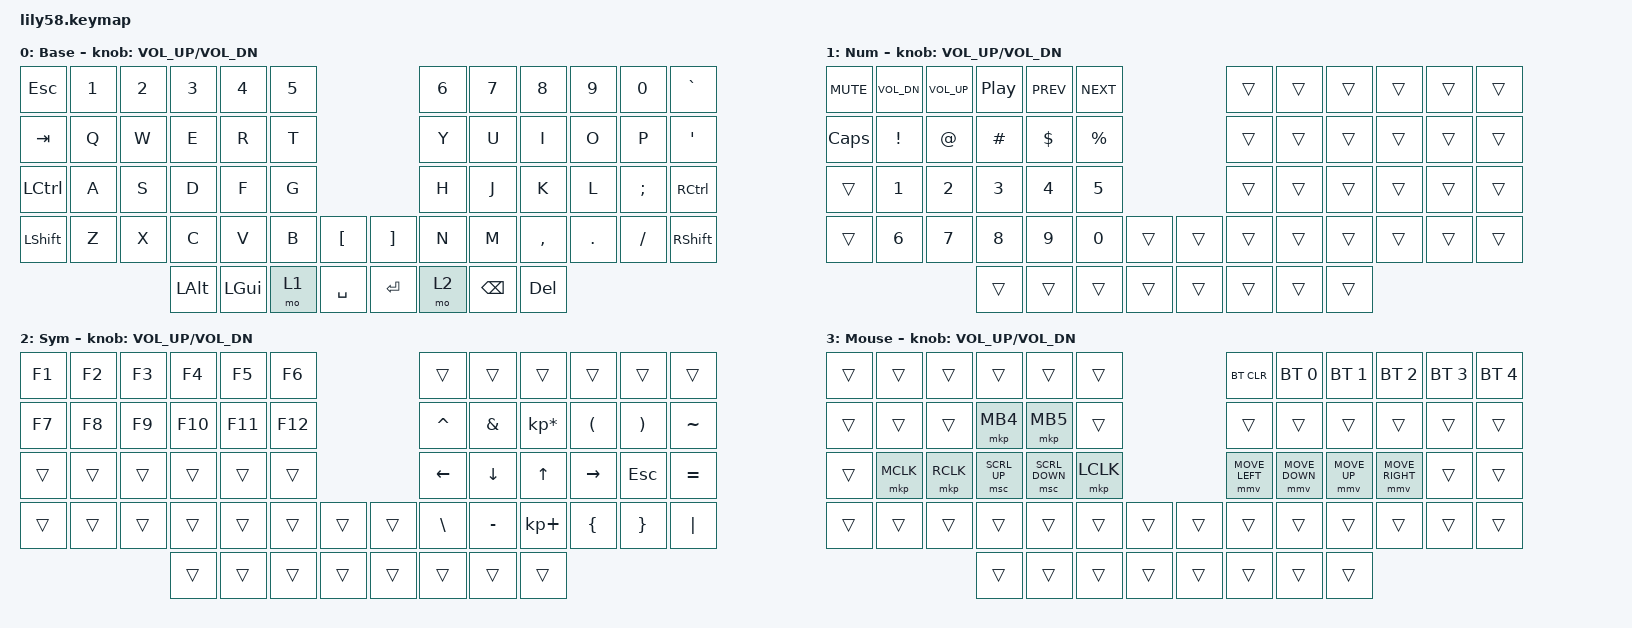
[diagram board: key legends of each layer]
/*
 * Copyright (c) 2020 The ZMK Contributors
 *
 * SPDX-License-Identifier: MIT
 */

#include <behaviors.dtsi>
#include <dt-bindings/zmk/keys.h>
#include <dt-bindings/zmk/bt.h>
#include <dt-bindings/zmk/ext_power.h>

#define ZMK_POINTING_DEFAULT_MOVE_VAL 2100 // default: 600
#define ZMK_POINTING_DEFAULT_SCRL_VAL 80   // default: 10

#include <dt-bindings/zmk/pointing.h>

&mmv {
    time-to-max-speed-ms = <1250>;
    acceleration-exponent = <1>;
};

&msc {
    time-to-max-speed-ms = <160>;
    acceleration-exponent = <1>;
};

/ {
    behaviors {
    };

    conditional_layers {
        compatible = "zmk,conditional-layers";
        tri_layer {
            if-layers = <1 2>;
            then-layer = <3>;
        };
    };

    keymap {
        compatible = "zmk,keymap";

        default_layer {
            display-name = "Base";
// ------------------------------------------------------------------------------------------------------------
// |  ESC  |  1  |  2  |  3   |  4   |  5   |                   |  6   |  7    |  8    |  9   |   0   |   `   |
// |  TAB  |  Q  |  W  |  E   |  R   |  T   |                   |  Y   |  U    |  I    |  O   |   P   |   '   |
// | CTRL  |  A  |  S  |  D   |  F   |  G   |                   |  H   |  J    |  K    |  L   |   ;   | CTRL  |
// | SHIFT |  Z  |  X  |  C   |  V   |  B   |   "["  |  |  "]"  |  N   |  M    |  ,    |  .   |   /   | SHIFT |
//                     | ALT  | GUI  | LOWER|  SPACE |  | ENTER | RAISE| BSPC  | DEL   |
            bindings = <
&kp ESC   &kp N1 &kp N2 &kp N3   &kp N4   &kp N5                     &kp N6 &kp N7   &kp N8    &kp N9  &kp N0   &kp GRAV
&kp TAB   &kp Q  &kp W  &kp E    &kp R    &kp T                      &kp Y  &kp U    &kp I     &kp O   &kp P    &kp SQT
&kp LCTRL &kp A  &kp S  &kp D    &kp F    &kp G                      &kp H  &kp J    &kp K     &kp L   &kp SEMI &kp RCTRL
&kp LSHFT &kp Z  &kp X  &kp C    &kp V    &kp B  &kp LBKT   &kp RBKT &kp N  &kp M    &kp COMMA &kp DOT &kp FSLH &kp RSHFT
                        &kp LALT &kp LGUI &mo 1  &kp SPACE  &kp RET  &mo 2  &kp BSPC &kp DEL
            >;

            sensor-bindings = <&inc_dec_kp C_VOL_UP C_VOL_DN>;
        };

        lower_layer {
            display-name = "Num";
// --------------------------------------------------------------------------------------------------------------
// |  MUT  |  Vo- |  Vo+ | PLAY | PREV | NEXT |                   |      |       |       |      |       |       |
// |  CAPS |  !   |  @   |  #   |  $   |  %   |                   |      |       |       |      |       |       |
// |       |  1   |  2   |  3   |  4   |  5   |                   |      |       |       |      |       |       |
// |       |  6   |  7   |  8   |  9   |  0   |        |  |       |      |       |       |      |       |       |
//                       |      |      |      |        |  |       |      |       |       |
            bindings = <
&kp C_MUTE &kp C_VOL_DN     &kp C_VOL_UP      &kp C_PLAY_PAUSE  &kp C_PREV   &kp C_NEXT                     &trans    &trans    &trans  &trans    &trans    &trans
&kp CAPS   &kp EXCL         &kp AT            &kp HASH          &kp DOLLAR   &kp PRCNT                      &trans    &trans    &trans  &trans    &trans    &trans
&trans     &kp N1           &kp N2            &kp N3            &kp N4       &kp N5                         &trans    &trans    &trans  &trans    &trans    &trans
&trans     &kp N6           &kp N7            &kp N8            &kp N9       &kp N0      &trans   &trans    &trans    &trans    &trans  &trans    &trans    &trans
                                              &trans            &trans       &trans      &trans   &trans    &trans    &trans    &trans
            >;

            sensor-bindings = <&inc_dec_kp C_VOL_UP C_VOL_DN>;
        };

        raise_layer {
            display-name = "Sym";
// ------------------------------------------------------------------------------------------------------------
// |   F1  |  F2 |  F3 |  F4  |  F5  |  F6  |                   |      |       |       |      |       |       |
// |   F7  |  F8 |  F9 |  F10 |  F11 |  F12 |                   |  ^   |  &    |  *    |  (   |   )   |   ~   |
// |       |     |     |      |      |      |                   |  <-  |   v   |   ^   |  ->  |  ESC  |   =   |
// |       |     |     |      |      |      |        |  |       |  \   |  -    |  +    |  {   |   }   |  "|"  |
//                     |      |      |      |        |  |       |      |       |       |
            bindings = <
&kp F1 &kp F2    &kp F3    &kp F4       &kp F5         &kp F6                       &trans         &trans       &trans          &trans          &trans       &trans
&kp F7 &kp F8    &kp F9    &kp F10      &kp F11        &kp F12                      &kp CARET      &kp AMPS     &kp KP_MULTIPLY &kp LPAR        &kp RPAR     &kp TILDE
&trans &trans    &trans    &trans       &trans         &trans                       &kp LEFT       &kp DOWN     &kp UP          &kp RIGHT       &kp ESC      &kp EQUAL
&trans &trans    &trans    &trans       &trans         &trans   &trans    &trans    &kp BSLH       &kp MINUS    &kp KP_PLUS     &kp LBRC        &kp RBRC     &kp PIPE
                           &trans       &trans         &trans   &trans    &trans    &trans         &trans       &trans
            >;

            sensor-bindings = <&inc_dec_kp C_VOL_UP C_VOL_DN>;
        };

        adjust_layer {
            display-name = "Mouse";
// ------------------------------------------------------------------------------------------------------------
// |       |     |     |      |      |      |                   | Clr  |  B0   |  B1   |  B2  |  B3   |  B4   |
// |       |     |     |  MB4 |  MB5 |      |                   |      |       |       |      |       |       |
// |       |MCLC |RCLC | SC_U | SC_D | LCLK |                   |  <-  |   v   |   ^   |  ->  |       |       |
// |       |     |     |      |      |      |        |  |       |      |       |       |      |       |       |
//                     |      |      |      |        |  |       |      |       |       |
            bindings = <
&trans &trans    &trans    &trans       &trans         &trans                        &bt BT_CLR     &bt BT_SEL 0   &bt BT_SEL 1    &bt BT_SEL 2    &bt BT_SEL 3 &bt BT_SEL 4
&trans &trans    &trans    &mkp MB4     &mkp MB5       &trans                        &trans         &trans         &trans          &trans          &trans       &trans
&trans &mkp MCLK &mkp RCLK &msc SCRL_UP &msc SCRL_DOWN &mkp LCLK                     &mmv MOVE_LEFT &mmv MOVE_DOWN &mmv MOVE_UP    &mmv MOVE_RIGHT &trans       &trans
&trans &trans    &trans    &trans       &trans         &trans    &trans    &trans    &trans         &trans         &trans          &trans          &trans       &trans
                           &trans       &trans         &trans    &trans    &trans    &trans         &trans         &trans
            >;

            sensor-bindings = <&inc_dec_kp C_VOL_UP C_VOL_DN>;
        };
    };
};
